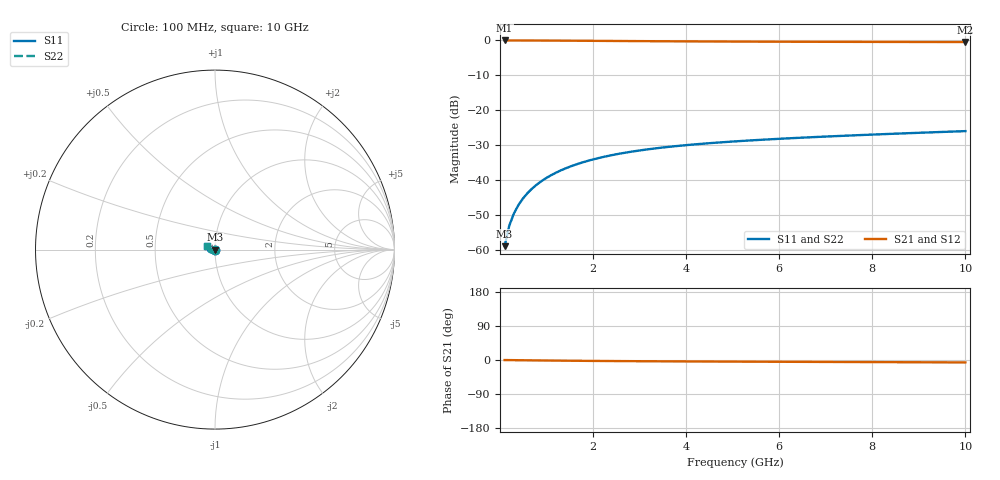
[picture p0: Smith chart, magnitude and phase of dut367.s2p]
! Touchstone file exported from HFSS 2024.1.0
!  File:  C:/UserFiles/LocalFiles/RDL_TSV_Batchsim/temp_TSV1_367_1779621526.aedt
!  Generated:  07:24:52 PM May 24, 2026
!  Design:  TSV1
!  Project:  temp_TSV1_367_1779621526
!  Setup:  Setup1
!  Solution:  Sweep
! Variables:
!  dtsv = 8.11um
!  hbump = 3um
!  htsv = 99.07um
!  lrdl = 252.1521522um
!  p = 40
!  p1 = 55.14um
!  t = 500um
!  trdl = 3um
!  wrdl = 24.89489489um
# GHz S MA R 50.000000
! Terminal data exported
! Port[1] = TSV22_T1
! Port[2] = TSV22_T2
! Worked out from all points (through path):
!   100 points, 100 MHz to 10 GHz, reference 50 ohm
!   highest |S21| = 0.00 dB at 100 MHz (marker M1); lowest = -0.5 dB at 10 GHz (marker M2)
!   lowest |S11| = -59.0 dB at 100 MHz (marker M3), VSWR 1.00, Z = 50 - j0.111 ohm
!   |S11| at or under -10 dB: start of sweep to end of sweep
!   |S22| runs from -59.0 to -26.0 dB; largest |S21 - S12| = 6.3e-15
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0.1  0.001126 -79.2  0.9997 -0.1  0.9997 -0.1  0.001126 -79.2
! Gamma 0 0 0 0
! Port Impedance 50 0 50 0
0.2  0.002216 -87.4  0.9996 -0.3  0.9996 -0.3  0.002216 -87.4
0.3  0.003314 -91.7  0.9994 -0.4  0.9994 -0.4  0.003314 -91.7
0.4  0.004408 -94.8  0.9991 -0.6  0.9991 -0.6  0.004408 -94.8
0.5  0.005493 -97.5  0.9987 -0.7  0.9987 -0.7  0.005493 -97.5
0.6  0.006568 -100.0  0.9983 -0.8  0.9983 -0.8  0.006568 -100.0
0.7  0.00763 -102.4  0.9978 -1.0  0.9978 -1.0  0.00763 -102.4
0.8  0.008678 -104.6  0.9972 -1.1  0.9972 -1.1  0.008678 -104.6
0.9  0.00971 -106.8  0.9966 -1.2  0.9966 -1.2  0.00971 -106.8
1.1  0.01172 -111.0  0.9952 -1.5  0.9952 -1.5  0.01172 -111.0
1.4  0.01458 -117.0  0.9928 -1.8  0.9928 -1.8  0.01458 -117.0
1.6  0.01638 -120.8  0.991 -2.0  0.991 -2.0  0.01638 -120.8
1.8  0.01809 -124.4  0.9892 -2.2  0.9892 -2.2  0.01809 -124.4
2.1  0.02048 -129.7  0.9863 -2.5  0.9863 -2.5  0.02048 -129.7
2.5  0.02335 -136.2  0.9825 -2.8  0.9825 -2.8  0.02335 -136.2
2.9  0.0259 -142.2  0.9788 -3.1  0.9788 -3.1  0.0259 -142.2
3.4  0.02869 -149.1  0.9746 -3.4  0.9746 -3.4  0.02869 -149.1
4.2  0.03244 -158.9  0.9687 -3.9  0.9687 -3.9  0.03244 -158.9
5.1  0.03592 -168.4  0.9635 -4.3  0.9635 -4.3  0.03592 -168.4
6.7  0.04104 177.7  0.9568 -5.0  0.9568 -5.0  0.04104 177.8
8.4  0.04583 166.0  0.9521 -5.7  0.9521 -5.7  0.04583 166.0
10  0.05016 157.0  0.949 -6.4  0.949 -6.4  0.05016 157.0
